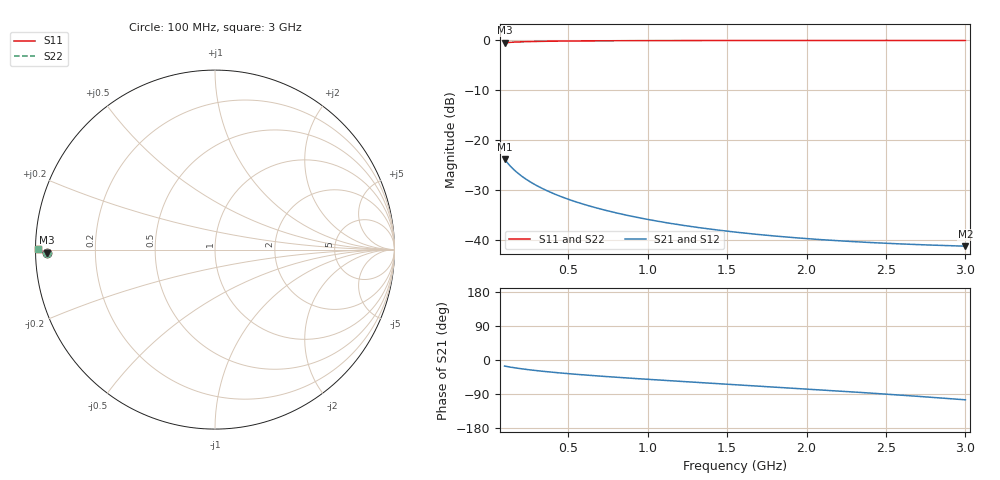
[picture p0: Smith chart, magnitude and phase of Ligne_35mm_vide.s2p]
# HZ S RI R 50
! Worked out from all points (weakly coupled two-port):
!   1001 points, 100 MHz to 3 GHz, reference 50 ohm
!   highest |S21| = -23.87 dB at 100 MHz (marker M1); lowest = -41.3 dB at 3 GHz (marker M2)
!   lowest |S11| = -0.6 dB at 100 MHz (marker M3), VSWR 30.79, Z = 1.62 - j0.458 ohm
!   |S11| at or under -10 dB: nowhere
!   |S22| runs from -0.6 to -0.1 dB; largest |S21 - S12| = 1e-13
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1e8  -0.9369 -0.0172  0.0615 -0.0177  0.0615 -0.0177  -0.9369 -0.0172
1.116e8  -0.9405 -0.0171  0.0579 -0.0176  0.0579 -0.0176  -0.9405 -0.0171
1.319e8  -0.9457 -0.017  0.0525 -0.0176  0.0525 -0.0176  -0.9457 -0.017
1.493e8  -0.9493 -0.0168  0.0488 -0.0175  0.0488 -0.0175  -0.9493 -0.0168
1.841e8  -0.955 -0.0164  0.0429 -0.0173  0.0429 -0.0173  -0.955 -0.0164
2.305e8  -0.9606 -0.0159  0.037 -0.0169  0.037 -0.0169  -0.9606 -0.0159
2.856e8  -0.9655 -0.0152  0.0319 -0.0165  0.0319 -0.0165  -0.9655 -0.0152
3.494e8  -0.9696 -0.0144  0.0275 -0.016  0.0275 -0.016  -0.9696 -0.0144
4.19e8  -0.973 -0.0136  0.0238 -0.0155  0.0238 -0.0155  -0.973 -0.0136
4.973e8  -0.9759 -0.0127  0.0206 -0.0149  0.0206 -0.0149  -0.9759 -0.0127
5.843e8  -0.9783 -0.0118  0.0179 -0.0144  0.0179 -0.0144  -0.9783 -0.0118
6.916e8  -0.9807 -0.0107  0.0152 -0.0138  0.0152 -0.0138  -0.9807 -0.0107
8.076e8  -0.9825 -0.00968  0.0129 -0.0132  0.0129 -0.0132  -0.9825 -0.00968
9.323e8  -0.9841 -0.00863  0.0109 -0.0126  0.0109 -0.0126  -0.9841 -0.00863
1.0686e9  -0.9853 -0.00757  0.00921 -0.0121  0.00921 -0.0121  -0.9853 -0.00757
1.2977e9  -0.9868 -0.00596  0.00695 -0.0114  0.00695 -0.0114  -0.9868 -0.00596
1.55e9  -0.9878 -0.00441  0.00503 -0.0108  0.00503 -0.0108  -0.9878 -0.00441
1.7849e9  -0.9883 -0.00312  0.00356 -0.0103  0.00356 -0.0103  -0.9883 -0.00312
2.0343e9  -0.9885 -0.0019  0.00222 -0.0099  0.00222 -0.0099  -0.9885 -0.0019
2.2692e9  -0.9885 -0.000876  0.00106 -0.00954  0.00106 -0.00954  -0.9885 -0.000876
2.5186e9  -0.9883 7.18e-05  -9.25e-05 -0.00916  -9.25e-05 -0.00916  -0.9883 7.18e-05
3e9  -0.9874 0.00146  -0.00223 -0.0083  -0.00223 -0.0083  -0.9874 0.00146
